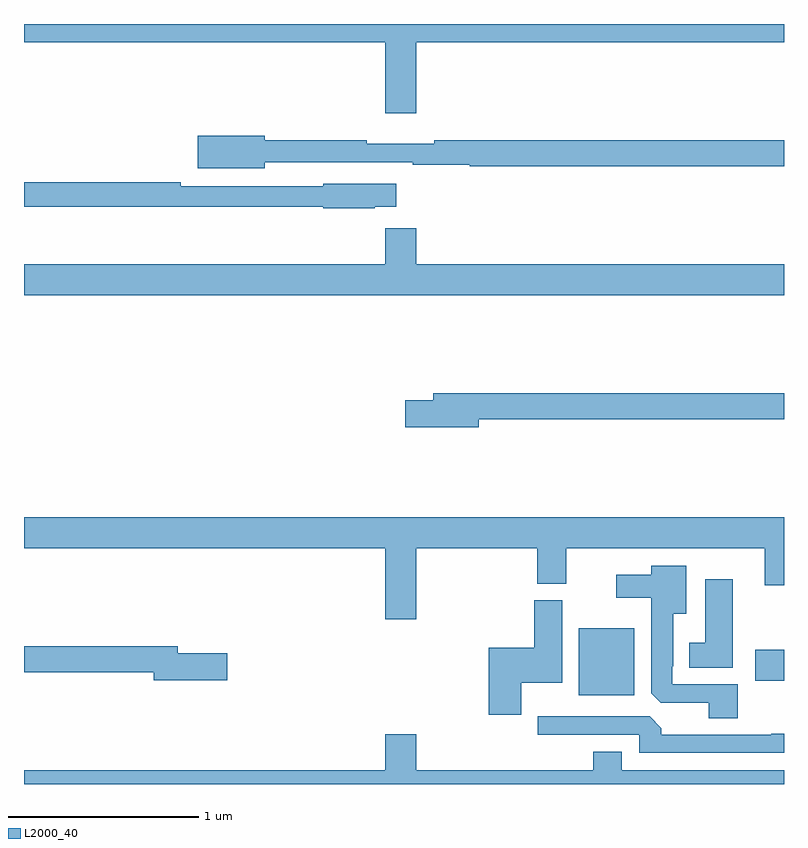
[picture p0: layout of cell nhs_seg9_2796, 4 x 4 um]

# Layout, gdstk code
import gdstk
lib = gdstk.Library(unit=1e-6, precision=1e-09)
def R(c, l, rs):  # rectangles x0, y0, x1, y1
    for r in rs: c.add(gdstk.rectangle(r[:2], r[2:], *l))
def P(c, l, *ps):  # polygons
    for p in ps: c.add(gdstk.Polygon(p, *l))
L2000_40 = (2000, 40)

nhs_seg9_2796 = lib.new_cell('nhs_seg9_2796')
R(nhs_seg9_2796, L2000_40, [(273.92,1208.966,274.213,1209.319), (274.848,1209.044,275,1209.207)])
P(nhs_seg9_2796, L2000_40, [(275,1212.5),(271,1212.5),(271,1212.404),(272.9,1212.404),(272.9,1212.03),(273.064,1212.03),(273.064,1212.404),(275,1212.404)],
  [(272.266,1211.772),(273.046,1211.772),(273.046,1211.76),(273.346,1211.76),(273.346,1211.752),(275,1211.752),(275,1211.888),(273.16,1211.888),(273.16,1211.869),(272.804,1211.869),(272.804,1211.888),(272.266,1211.888),(272.266,1211.912),(271.914,1211.912),(271.914,1211.741),(272.266,1211.741)],
  [(272.846,1211.537),(272.959,1211.537),(272.959,1211.659),(272.574,1211.659),(272.574,1211.646),(271.826,1211.646),(271.826,1211.666),(271,1211.666),(271,1211.538),(272.574,1211.538),(272.574,1211.53),(272.846,1211.53)],
  [(275,1211.236),(273.064,1211.236),(273.064,1211.425),(272.9,1211.425),(272.9,1211.236),(271,1211.236),(271,1211.072),(275,1211.072)],
  [(273.394,1210.42),(275,1210.42),(275,1210.556),(273.155,1210.556),(273.155,1210.52),(273.006,1210.52),(273.006,1210.378),(273.394,1210.378)],
  [(271,1209.74),(272.9,1209.74),(272.9,1209.366),(273.064,1209.366),(273.064,1209.74),(273.701,1209.74),(273.701,1209.553),(273.853,1209.553),(273.853,1209.74),(274.898,1209.74),(274.898,1209.546),(275,1209.546),(275,1209.904),(271,1209.904)],
  [(274.757,1209.024),(274.413,1209.024),(274.413,1209.121),(274.417,1209.121),(274.417,1209.395),(274.486,1209.395),(274.486,1209.649),(274.301,1209.649),(274.301,1209.601),(274.116,1209.601),(274.116,1209.479),(274.301,1209.479),(274.301,1208.977),(274.35,1208.928),(274.604,1208.928),(274.604,1208.845),(274.757,1208.845)],
  [(274.729,1209.577),(274.586,1209.577),(274.586,1209.244),(274.502,1209.244),(274.502,1209.113),(274.729,1209.113)],
  [(273.616,1209.032),(273.832,1209.032),(273.832,1209.468),(273.686,1209.468),(273.686,1209.217),(273.446,1209.217),(273.446,1208.865),(273.616,1208.865)],
  [(272.071,1209.188),(271.81,1209.188),(271.81,1209.224),(271,1209.224),(271,1209.088),(271.682,1209.088),(271.682,1209.046),(272.071,1209.046)],
  [(275,1208.765),(274.934,1208.765),(274.934,1208.76),(274.355,1208.76),(274.355,1208.794),(274.293,1208.856),(273.705,1208.856),(273.705,1208.76),(274.239,1208.76),(274.239,1208.664),(275,1208.664)],
  [(275,1208.572),(274.147,1208.572),(274.147,1208.671),(273.995,1208.671),(273.995,1208.572),(273.064,1208.572),(273.064,1208.761),(272.9,1208.761),(272.9,1208.572),(271,1208.572),(271,1208.5),(275,1208.5)])

lib.write_gds('nhs_seg9_2796.gds')
